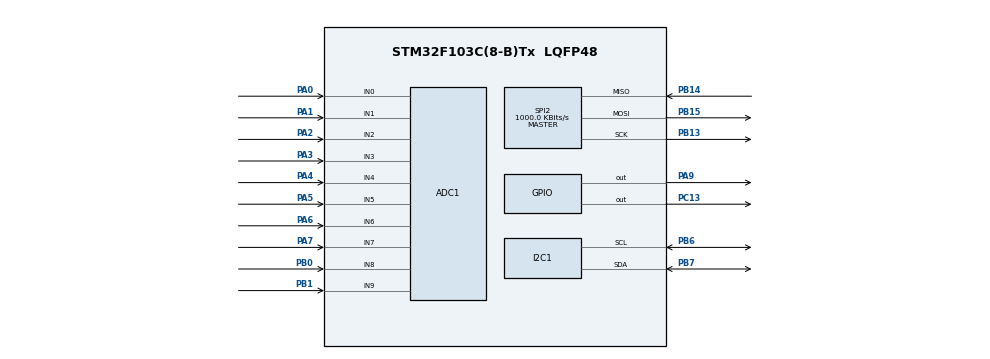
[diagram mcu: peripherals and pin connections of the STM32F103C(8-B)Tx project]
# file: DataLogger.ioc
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ADC1.Channel-0\#ChannelRegularConversion=ADC_CHANNEL_0
ADC1.Channel-1\#ChannelRegularConversion=ADC_CHANNEL_1
ADC1.Channel-2\#ChannelRegularConversion=ADC_CHANNEL_2
ADC1.Channel-3\#ChannelRegularConversion=ADC_CHANNEL_3
ADC1.Channel-4\#ChannelRegularConversion=ADC_CHANNEL_4
ADC1.Channel-5\#ChannelRegularConversion=ADC_CHANNEL_5
ADC1.Channel-6\#ChannelRegularConversion=ADC_CHANNEL_6
ADC1.Channel-7\#ChannelRegularConversion=ADC_CHANNEL_7
ADC1.Channel-8\#ChannelRegularConversion=ADC_CHANNEL_8
ADC1.Channel-9\#ChannelRegularConversion=ADC_CHANNEL_9
ADC1.NbrOfConversion=10
ADC1.NbrOfConversionFlag=1
ADC1.Rank-0\#ChannelRegularConversion=1
ADC1.Rank-1\#ChannelRegularConversion=2
ADC1.Rank-2\#ChannelRegularConversion=3
ADC1.Rank-3\#ChannelRegularConversion=4
ADC1.Rank-4\#ChannelRegularConversion=5
ADC1.Rank-5\#ChannelRegularConversion=6
ADC1.Rank-6\#ChannelRegularConversion=7
ADC1.Rank-7\#ChannelRegularConversion=8
ADC1.Rank-8\#ChannelRegularConversion=9
ADC1.Rank-9\#ChannelRegularConversion=10
ADC1.SamplingTime-0\#ChannelRegularConversion=ADC_SAMPLETIME_1CYCLE_5
ADC1.SamplingTime-1\#ChannelRegularConversion=ADC_SAMPLETIME_1CYCLE_5
ADC1.SamplingTime-2\#ChannelRegularConversion=ADC_SAMPLETIME_1CYCLE_5
ADC1.SamplingTime-3\#ChannelRegularConversion=ADC_SAMPLETIME_1CYCLE_5
ADC1.SamplingTime-4\#ChannelRegularConversion=ADC_SAMPLETIME_1CYCLE_5
ADC1.SamplingTime-5\#ChannelRegularConversion=ADC_SAMPLETIME_1CYCLE_5
ADC1.SamplingTime-6\#ChannelRegularConversion=ADC_SAMPLETIME_1CYCLE_5
ADC1.SamplingTime-7\#ChannelRegularConversion=ADC_SAMPLETIME_1CYCLE_5
ADC1.SamplingTime-8\#ChannelRegularConversion=ADC_SAMPLETIME_1CYCLE_5
ADC1.SamplingTime-9\#ChannelRegularConversion=ADC_SAMPLETIME_1CYCLE_5
ADC1.master=1
Dma.ADC1.0.Direction=DMA_PERIPH_TO_MEMORY
Dma.ADC1.0.Instance=DMA1_Channel1
Dma.ADC1.0.MemDataAlignment=DMA_MDATAALIGN_WORD
Dma.ADC1.0.MemInc=DMA_MINC_ENABLE
Dma.ADC1.0.Mode=DMA_NORMAL
Dma.ADC1.0.PeriphDataAlignment=DMA_PDATAALIGN_WORD
Dma.ADC1.0.PeriphInc=DMA_PINC_DISABLE
Dma.ADC1.0.Priority=DMA_PRIORITY_LOW
Dma.Request0=ADC1
FATFS._MAX_SS=4096
FATFS._USE_LFN=1
Mcu.Family=STM32F1
Mcu.Name=STM32F103C(8-B)Tx
Mcu.Package=LQFP48
NVIC.ADC1_2_IRQn=true\:0\:0\:false\:false\:true\:true\:true\:true
NVIC.DMA1_Channel1_IRQn=true\:0\:0\:false\:false\:true\:false\:true\:true
NVIC.PriorityGroup=NVIC_PRIORITYGROUP_4
NVIC.TIM2_IRQn=true\:0\:0\:false\:false\:true\:true\:true\:true
NVIC.TIM3_IRQn=true\:0\:0\:false\:false\:true\:true\:true\:true
PA0-WKUP.Signal=ADCx_IN0
PA1.Signal=ADCx_IN1
PA13.Mode=Serial_Wire
PA13.Signal=SYS_JTMS-SWDIO
PA14.Mode=Serial_Wire
PA14.Signal=SYS_JTCK-SWCLK
PA2.Signal=ADCx_IN2
PA3.Signal=ADCx_IN3
PA4.Signal=ADCx_IN4
PA5.Signal=ADCx_IN5
PA6.Signal=ADCx_IN6
PA7.Signal=ADCx_IN7
PA9.Signal=GPIO_Output
PB0.Signal=ADCx_IN8
PB1.Signal=ADCx_IN9
PB13.Mode=Full_Duplex_Master
PB13.Signal=SPI2_SCK
PB14.Mode=Full_Duplex_Master
PB14.Signal=SPI2_MISO
PB15.Mode=Full_Duplex_Master
PB15.Signal=SPI2_MOSI
PB6.Mode=I2C
PB6.Signal=I2C1_SCL
PB7.Mode=I2C
PB7.Signal=I2C1_SDA
PC13-TAMPER-RTC.Signal=GPIO_Output
ProjectManager.HeapSize=0x200
ProjectManager.StackSize=0x400
ProjectManager.TargetToolchain=STM32CubeIDE
RCC.APB1Freq_Value=8000000
RCC.APB2Freq_Value=8000000
SH.ADCx_IN0.0=ADC1_IN0,IN0
SH.ADCx_IN1.0=ADC1_IN1,IN1
SH.ADCx_IN2.0=ADC1_IN2,IN2
SH.ADCx_IN3.0=ADC1_IN3,IN3
SH.ADCx_IN4.0=ADC1_IN4,IN4
SH.ADCx_IN5.0=ADC1_IN5,IN5
SH.ADCx_IN6.0=ADC1_IN6,IN6
SH.ADCx_IN7.0=ADC1_IN7,IN7
SH.ADCx_IN8.0=ADC1_IN8,IN8
SH.ADCx_IN9.0=ADC1_IN9,IN9
SPI2.BaudRatePrescaler=SPI_BAUDRATEPRESCALER_8
SPI2.CalculateBaudRate=1000.0 KBits/s
SPI2.DataSize=SPI_DATASIZE_8BIT
SPI2.Direction=SPI_DIRECTION_2LINES
SPI2.Mode=SPI_MODE_MASTER
SPI2.VirtualType=VM_MASTER
TIM2.Period=1000-1
TIM2.Prescaler=8000-1
TIM3.Period=1000-1
TIM3.Prescaler=8000-1
VP_FATFS_VS_Generic.Mode=User_defined
VP_TIM2_VS_ClockSourceINT.Mode=Internal
VP_TIM3_VS_ClockSourceINT.Mode=Internal
board=custom

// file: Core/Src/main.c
/* USER CODE BEGIN Header */
/**
  ******************************************************************************
  * @file           : main.c
  * @brief          : Main program body
  ******************************************************************************
  * @attention
  *
  * Copyright (c) 2024 STMicroelectronics.
  * All rights reserved.
  *
  * This software is licensed under terms that can be found in the LICENSE file
  * in the root directory of this software component.
  * If no LICENSE file comes with this software, it is provided AS-IS.
  *
  ******************************************************************************
  */
/* USER CODE END Header */
#include "main.h"
#include "fatfs.h"

/* USER CODE BEGIN Includes */
#include "fatfs_sd.h"
#include "string.h"
#include "stdio.h"
#include "ds1307.h"
//#include "ssd1306.h"
//#include "fonts.h"

/* USER CODE END Includes */

/* USER CODE BEGIN PD */
FATFS fs;
FIL fil;
char buffer[128];
/* USER CODE END PD */

ADC_HandleTypeDef hadc1;
DMA_HandleTypeDef hdma_adc1;

I2C_HandleTypeDef hi2c1;

SPI_HandleTypeDef hspi2;

TIM_HandleTypeDef htim2;
TIM_HandleTypeDef htim3;

/* USER CODE BEGIN PV */
uint32_t buf[10];
uint32_t adc[10];
float bat1, bat2, bat3, bat4, bat5, bat6, bat7, bat8, bat9, bat10, bat11, bat12, bat13, bat14, bat15, bat16, bat17, bat18, bat19, bat20;
uint8_t sec, min, hour;
uint8_t week_day, day, month, year;
//
//CAN_TxHeaderTypeDef TxHeader;
//CAN_RxHeaderTypeDef RxHeader;
//
//float TxData[1];
//float RxData[8];

//uint32_t TxMailbox;

//int dataReceived;

int a, b, c, d, e, f, g, h, i, j, k;

int initdone = 0;

/* USER CODE END PV */

void SystemClock_Config(void);
static void MX_GPIO_Init(void);
static void MX_DMA_Init(void);
static void MX_TIM3_Init(void);
static void MX_ADC1_Init(void);
static void MX_SPI2_Init(void);
static void MX_TIM2_Init(void);
static void MX_I2C1_Init(void);

/* USER CODE BEGIN 0 */
void get_time(){
	rtc_get_time(&hour, &min, &sec);
	rtc_get_date(&week_day, &day, &month, &year);
}

void HAL_ADC_ConvCpltCallback(ADC_HandleTypeDef *hadc) {
	d++;
	for (int i = 0; i < 10; i++) {
		adc[i] = buf[i];
	}
}

void save_data_to_csv()
{
	get_time();

    // Mount the filesystem
    f_mount(&fs, "", 0);

    // Open the CSV file
    if (f_open(&fil, "data.csv", FA_OPEN_ALWAYS | FA_WRITE | FA_READ) == FR_OK)
    {
        // Move the file pointer to the end
        f_lseek(&fil, fil.fsize);

        // Format the battery values into a CSV format with 2 decimal places
        sprintf(buffer, "%02d-%02d-%02d %02d:%02d:%02d,%.2f,%.2f,%.2f,%.2f,%.2f,%.2f,%.2f,%.2f,%.2f,%.2f,%.2f,%.2f,%.2f,%.2f,%.2f,%.2f,%.2f,%.2f,%.2f,%.2f\n", year + 2000, month, day, hour, min, sec, bat1, bat2, bat3, bat4, bat5, bat6, bat7, bat8, bat9, bat10, bat11, bat12, bat13, bat14, bat15, bat16, bat17, bat18, bat19, bat20);

        // Write the formatted string to the file
        f_puts(buffer, &fil);

        // Close the file
        f_close(&fil);

    }
    else{
//    	Error_Handler();
    }

    // Unmount the filesystem
    f_mount(NULL, "", 1);
}

//void HAL_CAN_RxFifo0MsgPendingCallback(CAN_HandleTypeDef *hcan){
//	g++;
//	HAL_CAN_GetRxMessage(hcan, CAN_RX_FIFO0, &RxHeader, RxData);
//	h++;
//
//	if(RxData[5] == 1){
//		dataReceived = 1;
//	}
//
//	if(RxData[5] == 2){
////		dataReceived == 2;
//	}
//}

void HAL_TIM_PeriodElapsedCallback(TIM_HandleTypeDef *htim){
	if(initdone == 1){
		if(htim->Instance == TIM3){
				HAL_ADC_Start_DMA(&hadc1, buf, 10);

				bat1 = adc[0];		//A5
				bat2 = adc[1];		//A6
				bat3 = adc[2];		//A7
				bat4 = adc[3];		//B0
				bat5 = adc[4];		//B1
				bat6 = adc[5];		//A0
				bat7 = adc[6];		//A1
				bat8 = adc[7];		//A2
				bat9 = adc[8];		//A3
				bat10 = adc[9];		//A4

		//		//Activate notification
		//		HAL_CAN_ActivateNotification(&hcan, CAN_IT_RX_FIFO0_MSG_PENDING);
		//
		//		TxHeader.DLC = 1;
		//		TxHeader.IDE = CAN_ID_STD;
		//		TxHeader.RTR = CAN_RTR_DATA;
		//		TxHeader.StdId = 0x446;
		//		TxHeader.TransmitGlobalTime = DISABLE;
		//
		//		TxData[0] = 1;
		//		i++;
		//
		//		HAL_CAN_AddTxMessage(&hcan, &TxHeader, TxData, &TxMailbox);
		//		j++;
		//
		//		if (dataReceived == 1){
		//			k++;
		//			bat11 = RxData[0];
		//			bat12 = RxData[1];
		//			bat13 = RxData[2];
		//			bat14 = RxData[3];
		//			bat15 = RxData[4];
		//		}
		//
		//		dataReceived = 0;
		//
		//		HAL_CAN_ActivateNotification(&hcan, CAN_IT_RX_FIFO0_MSG_PENDING);
		//
		//		TxData[0] = 2;
		//
		//		HAL_CAN_AddTxMessage(&hcan, &TxHeader, TxData, &TxMailbox);
		//
		//		if (dataReceived == 2){
		//			bat16 = RxData[0];
		//			bat17 = RxData[1];
		//			bat18 = RxData[2];
		//			bat19 = RxData[3];
		//			bat20 = RxData[4];
		//		}
		//
		//		dataReceived = 0;

		//		save_data_to_csv();

			}
	}

//	if(htim->Instance == TIM2){
//		get_time();
//
//		SSD1306_Clear();
//		SSD1306_GotoXY(0, 0);
//
//		sprintf(buffer, "%02d / %02d / %02d", day, month, year + 2000);
//		SSD1306_Puts(buffer, &Font_11x18, 1);
//
//		SSD1306_GotoXY(0, 30);
//
//		sprintf(buffer, "%02d : %02d", hour, min);
//		SSD1306_Puts(buffer, &Font_11x18, 1);
//
//		SSD1306_UpdateScreen();
//	}
}

//void HAL_GPIO_EXTI_Callback(uint16_t GPIO_Pin){
//    const int numValuesPerPage = 3;  // Display 3 values per press
//    const int totalValues = 20;      // Total ADC values (Bat 1 to Bat 20)
//    int baseIndex;
//
//    if (press >= 1 && press <= (totalValues + numValuesPerPage - 1) / numValuesPerPage) {
//        SSD1306_Clear();
//
//        baseIndex = (press - 1) * numValuesPerPage;  // Starting index for the current page
//
//        // Loop to display up to `numValuesPerPage` items, ensuring we don't exceed `totalValues`
//        for (int i = 0; i < numValuesPerPage; i++) {
//            int currentIndex = baseIndex + i;
//
//            if (currentIndex < totalValues) {  // Ensure we don't exceed the total number of values
//                SSD1306_GotoXY(0, i * 20);  // Set cursor for each row (0, 20, 40)
//
//                // Format and display the "Bat x: value" string
//                sprintf(buffer, "Bat %d: %d", currentIndex + 1, adc[currentIndex]);
//                SSD1306_Puts(buffer, &Font_11x18, 1);
//            }
//        }
//
//        // Update the display to show the content
//        SSD1306_UpdateScreen();
//    }
//
//    // Reset `press` after displaying all pages, or increment for the next page
//    if (press >= (totalValues + numValuesPerPage - 1) / numValuesPerPage) {
//        press = 1;
//    } else {
//        press++;
//    }
//}

/* USER CODE END 0 */

int main(void)
{

  /* MCU Configuration--------------------------------------------------------*/

  /* Reset of all peripherals, Initializes the Flash interface and the Systick. */
  HAL_Init();

  /* Configure the system clock */
  SystemClock_Config();

  /* Initialize all configured peripherals */
  MX_GPIO_Init();
  MX_DMA_Init();
  MX_TIM3_Init();
  MX_ADC1_Init();
  MX_SPI2_Init();
  MX_FATFS_Init();
  MX_TIM2_Init();
  MX_I2C1_Init();
  /* USER CODE BEGIN 2 */
  HAL_TIM_Base_Start_IT(&htim3);
  HAL_TIM_Base_Start_IT(&htim2);
  e++;

  rtc_init(3, 1, 1);
  f++;
//  SSD1306_Init();

//  HAL_CAN_Start(&hcan);

//  TxHeader.DLC = 9;
//  TxHeader.IDE = CAN_ID_STD;
//  TxHeader.RTR = CAN_RTR_DATA;
//  TxHeader.StdId = 0x446;
//  TxHeader.TransmitGlobalTime = DISABLE;
//  rtc_set_time(19, 25, 30);
//  rtc_set_date(01, 14, 10, 24);

  f_mount(&fs, "", 0);
  g++;
  initdone = 1;

//  HAL_Delay(500);
//  f_mount(&fs, "", 0);
//  f_open(&fil, "write.txt", FA_OPEN_ALWAYS | FA_WRITE | FA_READ);
//  f_lseek(&fil, fil.fsize);
//  f_puts("Hello from Nizar\n", &fil);
//  f_close(&fil);
  /* USER CODE END 2 */

  /* Infinite loop */
  /* USER CODE BEGIN WHILE */
  while (1)
  {

	  save_data_to_csv();
    /* USER CODE END WHILE */

  }
}

void SystemClock_Config(void)
{
  RCC_OscInitTypeDef RCC_OscInitStruct = {0};
  RCC_ClkInitTypeDef RCC_ClkInitStruct = {0};
  RCC_PeriphCLKInitTypeDef PeriphClkInit = {0};

  /** Initializes the RCC Oscillators according to the specified parameters
  * in the RCC_OscInitTypeDef structure.
  */
  RCC_OscInitStruct.OscillatorType = RCC_OSCILLATORTYPE_HSI;
  RCC_OscInitStruct.HSIState = RCC_HSI_ON;
  RCC_OscInitStruct.HSICalibrationValue = RCC_HSICALIBRATION_DEFAULT;
  RCC_OscInitStruct.PLL.PLLState = RCC_PLL_NONE;
  if (HAL_RCC_OscConfig(&RCC_OscInitStruct) != HAL_OK)
  {
    Error_Handler();
  }

  /** Initializes the CPU, AHB and APB buses clocks
  */
  RCC_ClkInitStruct.ClockType = RCC_CLOCKTYPE_HCLK|RCC_CLOCKTYPE_SYSCLK
                              |RCC_CLOCKTYPE_PCLK1|RCC_CLOCKTYPE_PCLK2;
  RCC_ClkInitStruct.SYSCLKSource = RCC_SYSCLKSOURCE_HSI;
  RCC_ClkInitStruct.AHBCLKDivider = RCC_SYSCLK_DIV1;
  RCC_ClkInitStruct.APB1CLKDivider = RCC_HCLK_DIV1;
  RCC_ClkInitStruct.APB2CLKDivider = RCC_HCLK_DIV1;

  if (HAL_RCC_ClockConfig(&RCC_ClkInitStruct, FLASH_LATENCY_0) != HAL_OK)
  {
    Error_Handler();
  }
  PeriphClkInit.PeriphClockSelection = RCC_PERIPHCLK_ADC;
  PeriphClkInit.AdcClockSelection = RCC_ADCPCLK2_DIV2;
  if (HAL_RCCEx_PeriphCLKConfig(&PeriphClkInit) != HAL_OK)
  {
    Error_Handler();
  }
}

static void MX_ADC1_Init(void)
{

  ADC_ChannelConfTypeDef sConfig = {0};

  /** Common config
  */
  hadc1.Instance = ADC1;
  hadc1.Init.ScanConvMode = ADC_SCAN_ENABLE;
  hadc1.Init.ContinuousConvMode = DISABLE;
  hadc1.Init.DiscontinuousConvMode = DISABLE;
  hadc1.Init.ExternalTrigConv = ADC_SOFTWARE_START;
  hadc1.Init.DataAlign = ADC_DATAALIGN_RIGHT;
  hadc1.Init.NbrOfConversion = 10;
  if (HAL_ADC_Init(&hadc1) != HAL_OK)
  {
    Error_Handler();
  }

  /** Configure Regular Channel
  */
  sConfig.Channel = ADC_CHANNEL_0;
  sConfig.Rank = ADC_REGULAR_RANK_1;
  sConfig.SamplingTime = ADC_SAMPLETIME_1CYCLE_5;
  if (HAL_ADC_ConfigChannel(&hadc1, &sConfig) != HAL_OK)
  {
    Error_Handler();
  }

  /** Configure Regular Channel
  */
  sConfig.Channel = ADC_CHANNEL_1;
  sConfig.Rank = ADC_REGULAR_RANK_2;
  if (HAL_ADC_ConfigChannel(&hadc1, &sConfig) != HAL_OK)
  {
    Error_Handler();
  }

  /** Configure Regular Channel
  */
  sConfig.Channel = ADC_CHANNEL_2;
  sConfig.Rank = ADC_REGULAR_RANK_3;
  if (HAL_ADC_ConfigChannel(&hadc1, &sConfig) != HAL_OK)
  {
    Error_Handler();
  }

  /** Configure Regular Channel
  */
  sConfig.Channel = ADC_CHANNEL_3;
  sConfig.Rank = ADC_REGULAR_RANK_4;
  if (HAL_ADC_ConfigChannel(&hadc1, &sConfig) != HAL_OK)
  {
    Error_Handler();
  }

  /** Configure Regular Channel
  */
  sConfig.Channel = ADC_CHANNEL_4;
  sConfig.Rank = ADC_REGULAR_RANK_5;
  if (HAL_ADC_ConfigChannel(&hadc1, &sConfig) != HAL_OK)
  {
    Error_Handler();
  }

  /** Configure Regular Channel
  */
  sConfig.Channel = ADC_CHANNEL_5;
  sConfig.Rank = ADC_REGULAR_RANK_6;
  if (HAL_ADC_ConfigChannel(&hadc1, &sConfig) != HAL_OK)
  {
    Error_Handler();
  }

  /** Configure Regular Channel
  */
  sConfig.Channel = ADC_CHANNEL_6;
  sConfig.Rank = ADC_REGULAR_RANK_7;
  if (HAL_ADC_ConfigChannel(&hadc1, &sConfig) != HAL_OK)
  {
    Error_Handler();
  }

  /** Configure Regular Channel
  */
  sConfig.Channel = ADC_CHANNEL_7;
  sConfig.Rank = ADC_REGULAR_RANK_8;
  if (HAL_ADC_ConfigChannel(&hadc1, &sConfig) != HAL_OK)
  {
    Error_Handler();
  }

  /** Configure Regular Channel
  */
  sConfig.Channel = ADC_CHANNEL_8;
  sConfig.Rank = ADC_REGULAR_RANK_9;
  if (HAL_ADC_ConfigChannel(&hadc1, &sConfig) != HAL_OK)
  {
    Error_Handler();
  }

  /** Configure Regular Channel
  */
  sConfig.Channel = ADC_CHANNEL_9;
  sConfig.Rank = ADC_REGULAR_RANK_10;
  if (HAL_ADC_ConfigChannel(&hadc1, &sConfig) != HAL_OK)
  {
    Error_Handler();
  }

}

static void MX_I2C1_Init(void)
{

  hi2c1.Instance = I2C1;
  hi2c1.Init.ClockSpeed = 100000;
  hi2c1.Init.DutyCycle = I2C_DUTYCYCLE_2;
  hi2c1.Init.OwnAddress1 = 0;
  hi2c1.Init.AddressingMode = I2C_ADDRESSINGMODE_7BIT;
  hi2c1.Init.DualAddressMode = I2C_DUALADDRESS_DISABLE;
  hi2c1.Init.OwnAddress2 = 0;
  hi2c1.Init.GeneralCallMode = I2C_GENERALCALL_DISABLE;
  hi2c1.Init.NoStretchMode = I2C_NOSTRETCH_DISABLE;
  if (HAL_I2C_Init(&hi2c1) != HAL_OK)
  {
    Error_Handler();
  }

}

static void MX_SPI2_Init(void)
{

  /* SPI2 parameter configuration*/
  hspi2.Instance = SPI2;
  hspi2.Init.Mode = SPI_MODE_MASTER;
  hspi2.Init.Direction = SPI_DIRECTION_2LINES;
  hspi2.Init.DataSize = SPI_DATASIZE_8BIT;
  hspi2.Init.CLKPolarity = SPI_POLARITY_LOW;
  hspi2.Init.CLKPhase = SPI_PHASE_1EDGE;
  hspi2.Init.NSS = SPI_NSS_SOFT;
  hspi2.Init.BaudRatePrescaler = SPI_BAUDRATEPRESCALER_8;
  hspi2.Init.FirstBit = SPI_FIRSTBIT_MSB;
  hspi2.Init.TIMode = SPI_TIMODE_DISABLE;
  hspi2.Init.CRCCalculation = SPI_CRCCALCULATION_DISABLE;
  hspi2.Init.CRCPolynomial = 10;
  if (HAL_SPI_Init(&hspi2) != HAL_OK)
  {
    Error_Handler();
  }

}

static void MX_TIM2_Init(void)
{

  TIM_ClockConfigTypeDef sClockSourceConfig = {0};
  TIM_MasterConfigTypeDef sMasterConfig = {0};

  htim2.Instance = TIM2;
  htim2.Init.Prescaler = 8000-1;
  htim2.Init.CounterMode = TIM_COUNTERMODE_UP;
  htim2.Init.Period = 1000-1;
  htim2.Init.ClockDivision = TIM_CLOCKDIVISION_DIV1;
  htim2.Init.AutoReloadPreload = TIM_AUTORELOAD_PRELOAD_DISABLE;
  if (HAL_TIM_Base_Init(&htim2) != HAL_OK)
  {
    Error_Handler();
  }
  sClockSourceConfig.ClockSource = TIM_CLOCKSOURCE_INTERNAL;
  if (HAL_TIM_ConfigClockSource(&htim2, &sClockSourceConfig) != HAL_OK)
  {
    Error_Handler();
  }
  sMasterConfig.MasterOutputTrigger = TIM_TRGO_RESET;
  sMasterConfig.MasterSlaveMode = TIM_MASTERSLAVEMODE_DISABLE;
  if (HAL_TIMEx_MasterConfigSynchronization(&htim2, &sMasterConfig) != HAL_OK)
  {
    Error_Handler();
  }

}

static void MX_TIM3_Init(void)
{

  TIM_ClockConfigTypeDef sClockSourceConfig = {0};
  TIM_MasterConfigTypeDef sMasterConfig = {0};

  htim3.Instance = TIM3;
  htim3.Init.Prescaler = 8000-1;
  htim3.Init.CounterMode = TIM_COUNTERMODE_UP;
  htim3.Init.Period = 1000-1;
  htim3.Init.ClockDivision = TIM_CLOCKDIVISION_DIV1;
  htim3.Init.AutoReloadPreload = TIM_AUTORELOAD_PRELOAD_DISABLE;
  if (HAL_TIM_Base_Init(&htim3) != HAL_OK)
  {
    Error_Handler();
  }
  sClockSourceConfig.ClockSource = TIM_CLOCKSOURCE_INTERNAL;
  if (HAL_TIM_ConfigClockSource(&htim3, &sClockSourceConfig) != HAL_OK)
  {
    Error_Handler();
  }
  sMasterConfig.MasterOutputTrigger = TIM_TRGO_RESET;
  sMasterConfig.MasterSlaveMode = TIM_MASTERSLAVEMODE_DISABLE;
  if (HAL_TIMEx_MasterConfigSynchronization(&htim3, &sMasterConfig) != HAL_OK)
  {
    Error_Handler();
  }

}

static void MX_DMA_Init(void)
{

  /* DMA controller clock enable */
  __HAL_RCC_DMA1_CLK_ENABLE();

  /* DMA interrupt init */
  /* DMA1_Channel1_IRQn interrupt configuration */
  HAL_NVIC_SetPriority(DMA1_Channel1_IRQn, 0, 0);
  HAL_NVIC_EnableIRQ(DMA1_Channel1_IRQn);

}

static void MX_GPIO_Init(void)
{
  GPIO_InitTypeDef GPIO_InitStruct = {0};

  /* GPIO Ports Clock Enable */
  __HAL_RCC_GPIOC_CLK_ENABLE();
  __HAL_RCC_GPIOA_CLK_ENABLE();
  __HAL_RCC_GPIOB_CLK_ENABLE();

  /*Configure GPIO pin Output Level */
  HAL_GPIO_WritePin(GPIOC, GPIO_PIN_13, GPIO_PIN_RESET);

  /*Configure GPIO pin Output Level */
  HAL_GPIO_WritePin(GPIOA, GPIO_PIN_9, GPIO_PIN_RESET);

  /*Configure GPIO pin : PC13 */
  GPIO_InitStruct.Pin = GPIO_PIN_13;
  GPIO_InitStruct.Mode = GPIO_MODE_OUTPUT_PP;
  GPIO_InitStruct.Pull = GPIO_NOPULL;
  GPIO_InitStruct.Speed = GPIO_SPEED_FREQ_LOW;
  HAL_GPIO_Init(GPIOC, &GPIO_InitStruct);

  /*Configure GPIO pin : PA9 */
  GPIO_InitStruct.Pin = GPIO_PIN_9;
  GPIO_InitStruct.Mode = GPIO_MODE_OUTPUT_PP;
  GPIO_InitStruct.Pull = GPIO_NOPULL;
  GPIO_InitStruct.Speed = GPIO_SPEED_FREQ_LOW;
  HAL_GPIO_Init(GPIOA, &GPIO_InitStruct);

}

void Error_Handler(void)
{
  /* USER CODE BEGIN Error_Handler_Debug */
  /* User can add his own implementation to report the HAL error return state */
  __disable_irq();
  while (1)
  {
	  HAL_GPIO_TogglePin(GPIOC, GPIO_PIN_13);
	  HAL_Delay(100);
  }
  /* USER CODE END Error_Handler_Debug */
}
